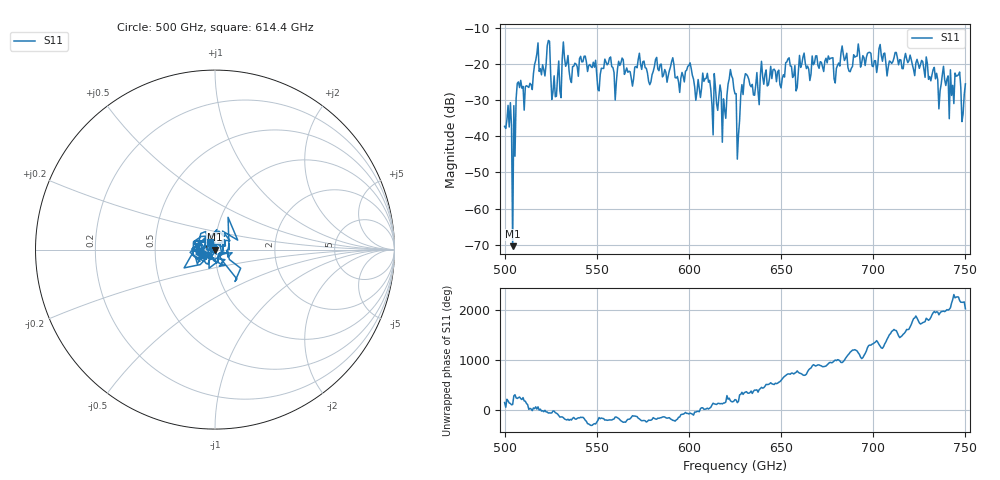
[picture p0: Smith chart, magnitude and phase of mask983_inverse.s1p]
!Created with skrf (http://scikit-rf.org).
# GHz S MA R 50.0
!freq magS11 angS11
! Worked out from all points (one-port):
!   401 points, 500 GHz to 750 GHz, reference 50 ohm
!   lowest |S11| = -70.3 dB at 504.4 GHz (marker M1), VSWR 1.00, Z = 50 + j0.0277 ohm
!   |S11| at or under -10 dB: start of sweep to end of sweep
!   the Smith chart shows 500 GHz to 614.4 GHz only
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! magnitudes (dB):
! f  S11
! 500 GHz  -37.3
! 502.5 GHz  -37.5
! 503.1 GHz  -30.7
! 504.4 GHz  -70.3
! 508.1 GHz  -26.6
! 511.9 GHz  -26.1
! 516.9 GHz  -19.1
! 520.6 GHz  -20.3
! 523.1 GHz  -15.1
! 526.9 GHz  -23.3
! 531.2 GHz  -18.6
! 562.5 GHz  -20.5
! 578.8 GHz  -25.8
! 590.6 GHz  -19.4
! 593.8 GHz  -23.5
! 608.8 GHz  -24.1
! 619.4 GHz  -32.8
! 622.5 GHz  -21.6
! 625 GHz  -28.3
! 626.9 GHz  -39.8
! 631.2 GHz  -23.0
! 636.9 GHz  -22.4
! 656.2 GHz  -23.8
! 680 GHz  -21.3
! 683.8 GHz  -17.4
! 687.5 GHz  -22.2
! 718.8 GHz  -19.7
! 750 GHz  -25.6
